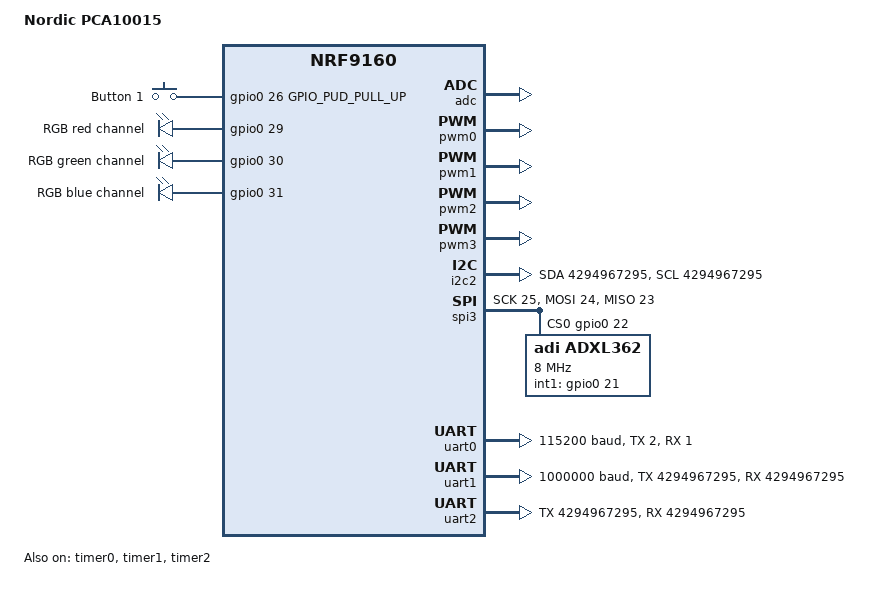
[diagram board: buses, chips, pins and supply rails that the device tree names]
/*
 * Copyright (c) 2019 Nordic Semiconductor ASA
 *
 * SPDX-License-Identifier: LicenseRef-BSD-5-Clause-Nordic
 */

/ {
	model = "Nordic PCA10015";
	compatible = "nordic,pca10015", "nordic,nrf9160-sica",
		     "nordic,nrf9160";

	chosen {
		zephyr,console = &uart0;
		zephyr,shell-uart = &uart0;
		zephyr,uart-mcumgr = &uart0;
	};

	buttons {
		compatible = "gpio-keys";

		button0: button_0 {
			gpios = <&gpio0 26 GPIO_PUD_PULL_UP>;
			label = "Button 1";
		};
	};

	leds {
		compatible = "gpio-leds";
		red_led: led_1 {
			gpios = <&gpio0 29 0>;
			label = "RGB red channel";
		};
		green_led: led_2 {
			gpios = <&gpio0 30 0>;
			label = "RGB green channel";
		};
		blue_led: led_3 {
			gpios = <&gpio0 31 0>;
			label = "RGB blue channel";
		};
	};

	aliases {
		sw0 = &button0;
		led0 = &red_led;
		led1 = &green_led;
		led2 = &blue_led;
		rgb-pwm = &pwm0;
		buzzer-pwm = &pwm1;
		nmos-pwm = &pwm2;
	};
};

&adc {
	status = "okay";
};

&gpiote {
	status = "okay";
};

&gpio0 {
	status = "okay";
};

/* PWM0 is intended for RGB LED control */
&pwm0 {
	status = "okay";
	ch0-pin = <13>;
	ch1-pin = <14>;
	ch2-pin = <15>;
};

/* PWM1 is intended for buzzer control */
&pwm1 {
	status = "okay";
	ch0-pin = <0xFFFFFFFF>;
};

/* PWM2 is intended for NMOS transistor control */
&pwm2 {
	status = "okay";
	ch0-pin = <0xFFFFFFFF>;
	ch1-pin = <0xFFFFFFFF>;
	ch2-pin = <0xFFFFFFFF>;
	ch3-pin = <0xFFFFFFFF>;
};

&pwm3 {
	status = "okay";
};

&i2c2 {
	status = "okay";
	sda-pin = <0xFFFFFFFF>;
	scl-pin = <0xFFFFFFFF>;
};

&spi3 {
	status = "okay";
	sck-pin = <25>;
	mosi-pin = <24>;
	miso-pin = <23>;
	cs-gpios = <&gpio0 22 0>, <&gpio0 7 0>;

	adxl362@0 {
		compatible = "adi,adxl362";
		label = "ADXL362";
		spi-max-frequency = <8000000>;
		reg = <0>;
		int1-gpios = <&gpio0 21 0>;
	};
};

&timer0 {
	status = "okay";
};

&timer1 {
	status = "okay";
};

&timer2 {
	status = "okay";
};

&uart0 {
	current-speed = <115200>;
	status = "okay";
	tx-pin = <2>;
	rx-pin = <1>;
	rts-pin = <3>;
	cts-pin = <4>;
};

&uart1 {
	current-speed = <1000000>;
	status = "okay";
	tx-pin = <0xFFFFFFFF>;
	rx-pin = <0xFFFFFFFF>;
	rts-pin = <0xFFFFFFFF>;
	cts-pin = <0xFFFFFFFF>;
};

/*
 * UART2 must be enabled for defines to be available for SPM for now.
 * "Required" pins are set to the disconnect value 0xFFFFFFFF.
 */
&uart2 {
	status = "okay";
	tx-pin = <0xFFFFFFFF>;
	rx-pin = <0xFFFFFFFF>;
};

&flash0 {
	/*
	 * For more information, see:
	 * http://docs.zephyrproject.org/devices/dts/flash_partitions.html
	 */
	partitions {
		compatible = "fixed-partitions";
		#address-cells = <1>;
		#size-cells = <1>;

		boot_partition: partition@0 {
			label = "mcuboot";
			reg = <0x00000000 0x10000>;
		};
		slot0_partition: partition@10000 {
			label = "image-0";
		};
		slot0_ns_partition: partition@40000 {
			label = "image-0-nonsecure";
		};
		slot1_partition: partition@80000 {
			label = "image-1";
		};
		slot1_ns_partition: partition@b0000 {
			label = "image-1-nonsecure";
		};
		scratch_partition: partition@f0000 {
			label = "image-scratch";
			reg = <0x000f0000 0xa000>;
		};
		storage_partition: partition@fa000 {
			label = "storage";
			reg = <0x000fa000 0x00006000>;
		};
	};
};

/ {
	/* SRAM allocated and used by the BSD library */
	sram0_bsd: memory@20010000 {
		device_type = "memory";
		compatible = "mmio-sram";
	};

	/* SRAM allocated to the Non-Secure image */
	sram0_ns: memory@20020000 {
		device_type = "memory";
		compatible = "mmio-sram";
	};
};

/* Include partition configuration file */
#include "nrf9160_pca10015_partition_conf.dts"
